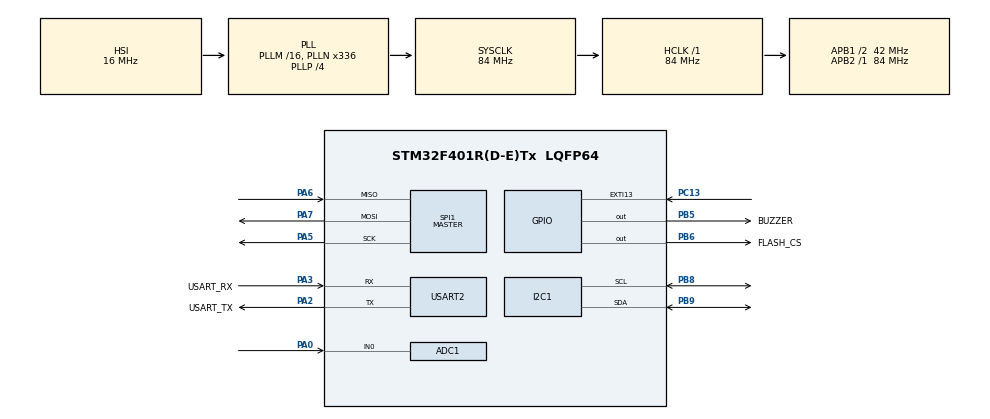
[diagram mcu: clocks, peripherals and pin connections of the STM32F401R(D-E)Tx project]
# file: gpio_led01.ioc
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ADC1.Channel-1\#ChannelRegularConversion=ADC_CHANNEL_0
ADC1.NbrOfConversionFlag=1
ADC1.Rank-1\#ChannelRegularConversion=1
ADC1.SamplingTime-1\#ChannelRegularConversion=ADC_SAMPLETIME_3CYCLES
ADC1.master=1
FREERTOS.BinarySemaphores01=buttonSem,Dynamic,NULL,Depleted
FREERTOS.Events01=systemEventFlags,Dynamic,NULL
FREERTOS.Mutexes01=i2cMutex,Dynamic,NULL,Available
FREERTOS.Queues01=sensorDisplayQueue,5,8,1,Dynamic,NULL,NULL;sensorAlarmQueue,5,8,1,Dynamic,NULL,NULL;sensorUartQueue,5,8,1,Dynamic,NULL,NULL
FREERTOS.Tasks01=SensorTask,24,256,StartSensorTask,Default,NULL,Dynamic,NULL,NULL;DisplayTask,24,256,StartDisplayTask,Default,NULL,Dynamic,NULL,NULL;AlarmTask,32,256,StartAlarmTask,Default,NULL,Dynamic,NULL,NULL;UartTask,24,256,StartUartTask,Default,NULL,Dynamic,NULL,NULL;ButtonTask,24,256,StartButtonTask,Default,NULL,Dynamic,NULL,NULL
Mcu.Family=STM32F4
Mcu.Name=STM32F401R(D-E)Tx
Mcu.Package=LQFP64
NVIC.EXTI15_10_IRQn=true\:5\:0\:false\:false\:true\:true\:true\:true\:true
NVIC.PriorityGroup=NVIC_PRIORITYGROUP_4
NVIC.TIM5_IRQn=true\:15\:0\:false\:false\:true\:false\:false\:true\:true
NVIC.TimeBase=TIM5_IRQn
NVIC.TimeBaseIP=TIM5
PA0-WKUP.Signal=ADCx_IN0
PA13.GPIO_Label=TMS
PA13.Mode=Trace_Asynchronous_SW
PA13.Signal=SYS_JTMS-SWDIO
PA14.GPIO_Label=TCK
PA14.Mode=Trace_Asynchronous_SW
PA14.Signal=SYS_JTCK-SWCLK
PA2.GPIO_Label=USART_TX
PA2.GPIO_Mode=GPIO_MODE_AF_PP
PA2.GPIO_PuPd=GPIO_NOPULL
PA2.GPIO_Speed=GPIO_SPEED_FREQ_LOW
PA2.Mode=Asynchronous
PA2.Signal=USART2_TX
PA3.GPIO_Label=USART_RX
PA3.GPIO_Mode=GPIO_MODE_AF_PP
PA3.GPIO_PuPd=GPIO_NOPULL
PA3.GPIO_Speed=GPIO_SPEED_FREQ_LOW
PA3.Mode=Asynchronous
PA3.Signal=USART2_RX
PA5.Mode=Full_Duplex_Master
PA5.Signal=SPI1_SCK
PA6.Mode=Full_Duplex_Master
PA6.Signal=SPI1_MISO
PA7.Mode=Full_Duplex_Master
PA7.Signal=SPI1_MOSI
PB3.GPIO_Label=SWO
PB3.Mode=Trace_Asynchronous_SW
PB3.Signal=SYS_JTDO-SWO
PB5.GPIO_Label=BUZZER
PB5.PinState=GPIO_PIN_SET
PB5.Signal=GPIO_Output
PB6.GPIO_Label=FLASH_CS
PB6.PinState=GPIO_PIN_SET
PB6.Signal=GPIO_Output
PB8.Mode=I2C
PB8.Signal=I2C1_SCL
PB9.Mode=I2C
PB9.Signal=I2C1_SDA
PC13-ANTI_TAMP.GPIO_ModeDefaultEXTI=GPIO_MODE_IT_FALLING
PC13-ANTI_TAMP.Signal=GPXTI13
PC14-OSC32_IN.Mode=LSE-External-Oscillator
PC14-OSC32_IN.Signal=RCC_OSC32_IN
PC15-OSC32_OUT.Mode=LSE-External-Oscillator
PC15-OSC32_OUT.Signal=RCC_OSC32_OUT
PH0\ -\ OSC_IN.Mode=HSE-External-Clock-Source
PH0\ -\ OSC_IN.Signal=RCC_OSC_IN
PH1\ -\ OSC_OUT.Mode=HSE-External-Clock-Source
PH1\ -\ OSC_OUT.Signal=RCC_OSC_OUT
ProjectManager.HeapSize=0x200
ProjectManager.StackSize=0x400
ProjectManager.TargetToolchain=STM32CubeIDE
RCC.48MHZClocksFreq_Value=48000000
RCC.AHBFreq_Value=84000000
RCC.APB1CLKDivider=RCC_HCLK_DIV2
RCC.APB1Freq_Value=42000000
RCC.APB1TimFreq_Value=84000000
RCC.APB2Freq_Value=84000000
RCC.APB2TimFreq_Value=84000000
RCC.CortexFreq_Value=84000000
RCC.HCLKFreq_Value=84000000
RCC.HSE_VALUE=8000000
RCC.HSI_VALUE=16000000
RCC.PLLN=336
RCC.PLLP=RCC_PLLP_DIV4
RCC.PLLQ=7
RCC.SYSCLKFreq_VALUE=84000000
RCC.SYSCLKSource=RCC_SYSCLKSOURCE_PLLCLK
RCC.VCOOutputFreq_Value=336000000
SH.ADCx_IN0.0=ADC1_IN0,IN0
SPI1.BaudRatePrescaler=SPI_BAUDRATEPRESCALER_64
SPI1.Direction=SPI_DIRECTION_2LINES
SPI1.Mode=SPI_MODE_MASTER
SPI1.VirtualType=VM_MASTER
USART2.VirtualMode=VM_ASYNC
VP_FREERTOS_VS_CMSIS_V2.Mode=CMSIS_V2
VP_SYS_VS_tim5.Mode=TIM5
VP_TIM2_VS_ClockSourceINT.Mode=Internal
board=NUCLEO-F401RE

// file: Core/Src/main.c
/* USER CODE BEGIN Header */
/**
  ******************************************************************************
  * @file           : main.c
  * @brief          : Main program body
  ******************************************************************************
  * @attention
  *
  * Copyright (c) 2026 STMicroelectronics.
  * All rights reserved.
  *
  * This software is licensed under terms that can be found in the LICENSE file
  * in the root directory of this software component.
  * If no LICENSE file comes with this software, it is provided AS-IS.
  *
  ******************************************************************************
  */
/* USER CODE END Header */
#include "main.h"
#include "cmsis_os.h"

/* USER CODE BEGIN Includes */

#include<stdio.h>
#include <string.h>
#include <stdarg.h>

#include "oled.h"
#include "aht20.h"
#include "w25q64.h"
#include "config.h"
#include "alarm.h"

/* USER CODE END Includes */

/* USER CODE BEGIN PTD */

typedef struct
{
    int32_t temperature_x10;
    uint32_t humidity_x10;

} SensorData_t;

/* USER CODE END PTD */

/* USER CODE BEGIN PD */

/* Keep external configuration isolated until reliability is verified. */
#ifndef APP_USE_FLASH_CONFIG
#define APP_USE_FLASH_CONFIG 0U
#endif

#ifndef QUEUE_STRESS_TEST
#define QUEUE_STRESS_TEST 0U
#endif

#define FLASH_CONFIG_WRITE_TEST 0U
#define FLASH_RAW_TEST 0U
#ifndef FLASH_READ_DIAG_MODE
#define FLASH_READ_DIAG_MODE 0U
#endif

#ifndef FLASH_SPI_CAPTURE_MODE
#define FLASH_SPI_CAPTURE_MODE 0U
#endif

#if !APP_USE_FLASH_CONFIG && (FLASH_RAW_TEST || FLASH_CONFIG_WRITE_TEST)
#error "Flash write tests require an explicitly enabled application Flash path"
#endif

#if QUEUE_STRESS_TEST && (APP_USE_FLASH_CONFIG || FLASH_READ_DIAG_MODE || FLASH_RAW_TEST || FLASH_CONFIG_WRITE_TEST)
#error "Queue stress must run the normal tasks with external Flash isolated"
#endif

#if FLASH_SPI_CAPTURE_MODE && !FLASH_READ_DIAG_MODE
#error "SPI capture mode requires the read-only Flash diagnostic"
#endif

#if FLASH_READ_DIAG_MODE && (FLASH_RAW_TEST || FLASH_CONFIG_WRITE_TEST)
#error "Flash read diagnostic must be built with both write tests disabled"
#endif

/* USER CODE END PD */

ADC_HandleTypeDef hadc1;

I2C_HandleTypeDef hi2c1;

SPI_HandleTypeDef hspi1;

TIM_HandleTypeDef htim2;

UART_HandleTypeDef huart2;

/* Definitions for SensorTask */
osThreadId_t SensorTaskHandle;
const osThreadAttr_t SensorTask_attributes = {
  .name = "SensorTask",
  .stack_size = 256 * 4,
  .priority = (osPriority_t) osPriorityNormal,
};
/* Definitions for DisplayTask */
osThreadId_t DisplayTaskHandle;
const osThreadAttr_t DisplayTask_attributes = {
  .name = "DisplayTask",
  .stack_size = 256 * 4,
  .priority = (osPriority_t) osPriorityNormal,
};
/* Definitions for AlarmTask */
osThreadId_t AlarmTaskHandle;
const osThreadAttr_t AlarmTask_attributes = {
  .name = "AlarmTask",
  .stack_size = 256 * 4,
  .priority = (osPriority_t) osPriorityAboveNormal,
};
/* Definitions for UartTask */
osThreadId_t UartTaskHandle;
const osThreadAttr_t UartTask_attributes = {
  .name = "UartTask",
  .stack_size = 256 * 4,
  .priority = (osPriority_t) osPriorityNormal,
};
/* Definitions for ButtonTask */
osThreadId_t ButtonTaskHandle;
const osThreadAttr_t ButtonTask_attributes = {
  .name = "ButtonTask",
  .stack_size = 256 * 4,
  .priority = (osPriority_t) osPriorityNormal,
};
/* Definitions for sensorDisplayQueue */
osMessageQueueId_t sensorDisplayQueueHandle;
const osMessageQueueAttr_t sensorDisplayQueue_attributes = {
  .name = "sensorDisplayQueue"
};
/* Definitions for sensorAlarmQueue */
osMessageQueueId_t sensorAlarmQueueHandle;
const osMessageQueueAttr_t sensorAlarmQueue_attributes = {
  .name = "sensorAlarmQueue"
};
/* Definitions for sensorUartQueue */
osMessageQueueId_t sensorUartQueueHandle;
const osMessageQueueAttr_t sensorUartQueue_attributes = {
  .name = "sensorUartQueue"
};
/* Definitions for i2cMutex */
osMutexId_t i2cMutexHandle;
const osMutexAttr_t i2cMutex_attributes = {
  .name = "i2cMutex"
};
/* Definitions for buttonSem */
osSemaphoreId_t buttonSemHandle;
const osSemaphoreAttr_t buttonSem_attributes = {
  .name = "buttonSem"
};
/* Definitions for systemEventFlags */
osEventFlagsId_t systemEventFlagsHandle;
const osEventFlagsAttr_t systemEventFlags_attributes = {
  .name = "systemEventFlags"
};
/* USER CODE BEGIN PV */

static volatile uint8_t button_pressed = 0;

static char tx_buffer[64];

static char oled_temp[16];
static char oled_humi[16];
static char oled_state[16];

static float humidity = 0.0f;
static float temperature = 0.0f;

static int32_t temperature_x10 = 0;
static uint32_t humidity_x10 = 0;

static uint8_t oled_ready = 0U;

static volatile uint32_t displayQueueDropCount = 0;
static volatile uint32_t alarmQueueDropCount = 0;
static volatile uint32_t uartQueueDropCount = 0;

/* FreeRTOS Task Stack Monitoring */
volatile uint32_t sensorStackFree = 0;
volatile uint32_t displayStackFree = 0;
volatile uint32_t alarmStackFree = 0;
volatile uint32_t uartStackFree = 0;
volatile uint32_t buttonStackFree = 0;

/* USER CODE END PV */

void SystemClock_Config(void);
static void MX_GPIO_Init(void);
static void MX_USART2_UART_Init(void);
static void MX_TIM2_Init(void);
static void MX_ADC1_Init(void);
static void MX_I2C1_Init(void);
static void MX_SPI1_Init(void);
void StartSensorTask(void *argument);
void StartDisplayTask(void *argument);
void StartAlarmTask(void *argument);
void StartUartTask(void *argument);
void StartButtonTask(void *argument);

/* USER CODE BEGIN 0 */
#if QUEUE_STRESS_TEST
typedef enum {
    QueueWarmup, QueuePressure, QueueDrain, QueueRecovery, QueueDone
} QueueStressPhase;
typedef enum {
    QueueDisplay, QueueAlarm, QueueUart, QueueCount
} QueueStressIndex;

typedef struct {
    uint32_t capacity;
    uint32_t peak;
    uint32_t attempts;
    uint32_t accepted;
    uint32_t full;
    uint32_t errors;
} QueueStressStats;

static osMutexId_t queueStressUartMutex;
static volatile QueueStressPhase queueStressPhase = QueueWarmup;
static volatile uint32_t queueStressProcessed[QueueCount];
static QueueStressStats queueStressStats[QueueCount];
static uint32_t queueStressStartDrops[QueueCount];
static uint32_t queueStressStartProcessed[QueueCount];
static uint32_t queueStressRecoveryErrors[QueueCount];
static uint32_t queueStressRecoveryAccepted[QueueCount];
static uint32_t queueStressDrainDepth[QueueCount];
static uint32_t queueStressMark;
static uint32_t queueStressTicksPerSec;
static uint8_t queueStressPressureOk;

static void QueueStress_Uart(const char *data, uint16_t size)
{
    if (osMutexAcquire(queueStressUartMutex, osWaitForever) == osOK)
    {
        HAL_UART_Transmit(&huart2, (const uint8_t *)data, size, 100U);
        osMutexRelease(queueStressUartMutex);
    }
}

static void QueueStress_Log(const char *format, ...) __attribute__((format(printf, 1, 2)));
static void QueueStress_Log(const char *format, ...)
{
    char line[144];
    va_list args;
    va_start(args, format);
    int length = vsnprintf(line, sizeof(line), format, args);
    va_end(args);
    if (length > 0 && length < (int)sizeof(line))
    {
        QueueStress_Uart(line, (uint16_t)length);
    }
}

static void QueueStress_RecordPut(QueueStressIndex index, osMessageQueueId_t queue,
                                  osStatus_t status)
{
    if (queueStressPhase == QueuePressure)
    {
        QueueStressStats *stat = &queueStressStats[index];
        ++stat->attempts;
        if (status == osOK)
        {
            ++stat->accepted;
        }
        else if (status == osErrorResource)
        {
            ++stat->full;
        }
        else
        {
            ++stat->errors;
        }
        /* A non-blocking put rejected as full is evidence of reaching capacity. */
        uint32_t depth = (status == osErrorResource) ? stat->capacity : osMessageQueueGetCount(queue);
        if (depth > stat->peak)
        {
            stat->peak = depth;
        }
    }
    if (queueStressPhase == QueueRecovery)
    {
        if (status == osOK)
        {
            ++queueStressRecoveryAccepted[index];
        }
        else
        {
            ++queueStressRecoveryErrors[index];
        }
    }
}

static void QueueStress_Consumed(QueueStressIndex index)
{
    ++queueStressProcessed[index];
    if (queueStressPhase == QueuePressure)
    {
        /* Delay only after the real consumer work and after releasing its mutex. */
        osDelay(3U * queueStressTicksPerSec);
    }
}

/* SensorTask owns test transitions, statistics, and the queue producer. */
static void QueueStress_Step(void)
{
    if (queueStressPhase == QueueDone)
    {
        return;
    }

    const osMessageQueueId_t queues[QueueCount] = {
        sensorDisplayQueueHandle, sensorAlarmQueueHandle, sensorUartQueueHandle
    };
    const char *const names[QueueCount] = {"display", "alarm", "uart"};
    const uint32_t drops[QueueCount] = {
        displayQueueDropCount, alarmQueueDropCount, uartQueueDropCount
    };
    uint32_t now = osKernelGetTickCount();
    if (queueStressTicksPerSec == 0U)
    {
        queueStressTicksPerSec = osKernelGetTickFreq();
        queueStressMark = now;
        QueueStress_Log("QUEUE_STRESS_BEGIN v=1 warm_s=3 pressure_s=18 slow_s=3 drain_s=6 recovery_s=4\r\n");
    }
    uint32_t elapsed = now - queueStressMark;

    if (queueStressPhase == QueueWarmup && elapsed >= 3U * queueStressTicksPerSec)
    {
        QueueStress_Log("Q_BEFORE drops=%lu,%lu,%lu\r\n",
                        (unsigned long)drops[QueueDisplay], (unsigned long)drops[QueueAlarm],
                        (unsigned long)drops[QueueUart]);
        for (unsigned i = 0; i < QueueCount; ++i)
        {
            queueStressStats[i].capacity = osMessageQueueGetCapacity(queues[i]);
            queueStressStartDrops[i] = drops[i];
            queueStressStartProcessed[i] = queueStressProcessed[i];
        }
        queueStressMark = osKernelGetTickCount();
        queueStressPhase = QueuePressure;
    }
    else if (queueStressPhase == QueuePressure && elapsed >= 18U * queueStressTicksPerSec)
    {
        uint32_t pressureProcessed[QueueCount];
        for (unsigned i = 0; i < QueueCount; ++i)
        {
            pressureProcessed[i] = queueStressProcessed[i];
        }
        queueStressPhase = QueueDrain;
        queueStressMark = now;
        queueStressPressureOk = 1U;
        for (unsigned i = 0; i < QueueCount; ++i)
        {
            const QueueStressStats *stat = &queueStressStats[i];
            uint32_t lost = drops[i] - queueStressStartDrops[i];
            uint32_t handled = pressureProcessed[i] - queueStressStartProcessed[i];
            unsigned pass = stat->capacity == 5U && stat->peak == stat->capacity &&
                            stat->full > 0U && lost == stat->full && stat->errors == 0U &&
                            stat->attempts == stat->accepted + stat->full && handled > 0U;
            queueStressPressureOk &= pass;
            QueueStress_Log("Q_LOAD %s cap=%lu peak=%lu attempts=%lu ok=%lu full=%lu err=%lu drops=%lu done=%lu pass=%u\r\n",
                            names[i], (unsigned long)stat->capacity, (unsigned long)stat->peak,
                            (unsigned long)stat->attempts, (unsigned long)stat->accepted,
                            (unsigned long)stat->full, (unsigned long)stat->errors,
                            (unsigned long)lost, (unsigned long)handled, pass);
        }
    }
    else if (queueStressPhase == QueueDrain && elapsed >= 6U * queueStressTicksPerSec)
    {
        for (unsigned i = 0; i < QueueCount; ++i)
        {
            queueStressDrainDepth[i] = osMessageQueueGetCount(queues[i]);
            queueStressStartDrops[i] = drops[i];
            queueStressStartProcessed[i] = queueStressProcessed[i];
        }
        queueStressMark = now;
        queueStressPhase = QueueRecovery;
    }
    else if (queueStressPhase == QueueRecovery && elapsed >= 4U * queueStressTicksPerSec)
    {
        queueStressPhase = QueueDone;
        unsigned recoveryOk = 1U;
        for (unsigned i = 0; i < QueueCount; ++i)
        {
            uint32_t lost = drops[i] - queueStressStartDrops[i];
            uint32_t handled = queueStressProcessed[i] - queueStressStartProcessed[i];
            unsigned pass = queueStressDrainDepth[i] == 0U && lost == 0U &&
                            queueStressRecoveryErrors[i] == 0U &&
                            queueStressRecoveryAccepted[i] >= 2U && handled >= 2U;
            recoveryOk &= pass;
            QueueStress_Log("Q_RECOVERY %s depth=%lu ok=%lu err=%lu drops=%lu done=%lu pass=%u\r\n",
                            names[i], (unsigned long)queueStressDrainDepth[i],
                            (unsigned long)queueStressRecoveryAccepted[i],
                            (unsigned long)queueStressRecoveryErrors[i],
                            (unsigned long)lost, (unsigned long)handled, pass);
        }
        QueueStress_Log("QUEUE_STRESS_END result=%s drops=%lu,%lu,%lu\r\n",
                        queueStressPressureOk && recoveryOk ? "PASS" : "FAIL",
                        (unsigned long)drops[QueueDisplay], (unsigned long)drops[QueueAlarm],
                        (unsigned long)drops[QueueUart]);
    }
}
#endif
#if FLASH_READ_DIAG_MODE
static void FlashDiag_Print(const char *format, ...)
{
    char line[160];
    va_list args;
    va_start(args, format);
    int length = vsnprintf(line, sizeof(line), format, args);
    va_end(args);
    if (length > 0 && length < (int)sizeof(line))
    {
        HAL_UART_Transmit(&huart2, (uint8_t *)line, (uint16_t)length, 100U);
    }
}

static __attribute__((noreturn)) void FlashDiag_Stop(void)
{
    HAL_SuspendTick();
    for (;;)
    {
        __WFI();
    }
}

#if FLASH_SPI_CAPTURE_MODE
static __attribute__((noreturn)) void FlashDiag_Capture(void)
{
    enum { ReadCount = 100, ReadLength = 8, GapMs = 4 };
    struct {
        HAL_StatusTypeDef status;
        uint32_t offset_ms;
        uint8_t data[ReadLength];
    } samples[ReadCount];
    unsigned batch = 0;

    for (;;)
    {
        uint8_t request = 0;
        FlashDiag_Print("SPI_CAPTURE_READY cmd=R addr=0x%06lX count=%u gap_ms=%u\r\n",
                        (unsigned long)FLASH_CONFIG_ADDR, (unsigned)ReadCount, (unsigned)GapMs);
        do
        {
            request = 0;
        } while (HAL_UART_Receive(&huart2, &request, 1, 100U) != HAL_OK || request != 'R');

        /* The host starts the analyzer before sending R. */
        HAL_Delay(50U);
        uint32_t start = HAL_GetTick();
        for (unsigned i = 0; i < ReadCount; ++i)
        {
            memset(samples[i].data, 0, sizeof(samples[i].data));
            samples[i].offset_ms = HAL_GetTick() - start;
            samples[i].status = W25Q64_ReadData(FLASH_CONFIG_ADDR, samples[i].data, ReadLength);
            if (i + 1U < ReadCount)
            {
                HAL_Delay(GapMs);
            }
        }

        unsigned failures = 0;
        unsigned changed = 0;
        unsigned reference_ok = samples[0].status == HAL_OK;
        FlashDiag_Print("SPI_CAPTURE_BEGIN batch=%u count=%u elapsed_ms=%lu\r\n",
                        ++batch, (unsigned)ReadCount, (unsigned long)(HAL_GetTick() - start));
        for (unsigned i = 0; i < ReadCount; ++i)
        {
            const uint8_t *data = samples[i].data;
            FlashDiag_Print("READ %03u: %02X %02X %02X %02X %02X %02X %02X %02X HAL=%u t_ms=%lu\r\n",
                            i + 1U, (unsigned)data[0], (unsigned)data[1],
                            (unsigned)data[2], (unsigned)data[3], (unsigned)data[4],
                            (unsigned)data[5], (unsigned)data[6], (unsigned)data[7],
                            (unsigned)samples[i].status, (unsigned long)samples[i].offset_ms);
            if (samples[i].status != HAL_OK)
            {
                ++failures;
            }
            else if (reference_ok && memcmp(samples[0].data, data, ReadLength) != 0)
            {
                ++changed;
            }
        }
        FlashDiag_Print("SPI_CAPTURE_END batch=%u hal_fail=%u mismatch=%u reference_ok=%u\r\n",
                        batch, failures, changed, reference_ok);
    }
}
#endif

static __attribute__((noreturn)) void FlashDiag_Run(void)
{
    __HAL_RCC_GPIOB_CLK_ENABLE();
    HAL_GPIO_WritePin(FLASH_CS_GPIO_Port, FLASH_CS_Pin, GPIO_PIN_SET);
    GPIO_InitTypeDef cs = {
        .Pin = FLASH_CS_Pin,
        .Mode = GPIO_MODE_OUTPUT_PP,
        .Pull = GPIO_NOPULL,
        .Speed = GPIO_SPEED_FREQ_LOW
    };
    HAL_GPIO_Init(FLASH_CS_GPIO_Port, &cs);
    MX_USART2_UART_Init();
    MX_SPI1_Init();

    /* Bound the time-base check even if TIM5 interrupts never arrive. */
    uint32_t tick = HAL_GetTick();
    uint32_t spins = SystemCoreClock / 4U;
    while (((uint32_t)(HAL_GetTick() - tick) < 2U) && (spins > 0U))
    {
        --spins;
    }
    unsigned tick_ok = (uint32_t)(HAL_GetTick() - tick) >= 2U;
    if (tick_ok)
    {
        HAL_Delay(100U);
    }

    FlashDiag_Print("FLASH_DIAG_BEGIN version=1 build=%s %s mode=READ_ONLY\r\n",
                    __DATE__, __TIME__);
    FlashDiag_Print("HAL_TICK_OK=%u\r\n", tick_ok);
    HAL_StatusTypeDef init = W25Q64_Init(&hspi1);
    if (!tick_ok || init != HAL_OK)
    {
        FlashDiag_Print("FLASH_DIAG_END result=INIT_FAILED init=%u\r\n", (unsigned)init);
        FlashDiag_Stop();
    }

#if FLASH_SPI_CAPTURE_MODE
    FlashDiag_Capture();
#else
    unsigned id_ok = 0, id_fail = 0, id_mismatch = 0;
    for (unsigned i = 1; i <= 100U; ++i)
    {
        uint8_t mfr = 0, type = 0, capacity = 0;
        HAL_StatusTypeDef status = W25Q64_ReadJEDEC_ID(&mfr, &type, &capacity);
        if (status != HAL_OK)
        {
            ++id_fail;
        }
        else
        {
            ++id_ok;
            if (mfr != 0xEFU || type != 0x40U || capacity != 0x17U)
            {
                ++id_mismatch;
            }
        }
        FlashDiag_Print("ID %03u HAL=%u: %02X %02X %02X\r\n",
                        i, (unsigned)status, (unsigned)mfr, (unsigned)type, (unsigned)capacity);
    }
    FlashDiag_Print("ID_SUMMARY ok=%u hal_fail=%u mismatch=%u\r\n", id_ok, id_fail, id_mismatch);

    HAL_StatusTypeDef (*const read_sr[])(uint8_t *) = {
        W25Q64_ReadStatus1, W25Q64_ReadStatus2, W25Q64_ReadStatus3
    };
    unsigned sr_fail[3] = {0}, sr_changes[3] = {0}, sr_seen[3] = {0};
    uint8_t sr_ref[3] = {0};
    for (unsigned i = 1; i <= 10U; ++i)
    {
        for (unsigned reg = 0; reg < 3U; ++reg)
        {
            uint8_t value = 0;
            HAL_StatusTypeDef status = read_sr[reg](&value);
            if (status != HAL_OK)
            {
                ++sr_fail[reg];
            }
            else if (!sr_seen[reg])
            {
                sr_ref[reg] = value;
                sr_seen[reg] = 1U;
            }
            else if (value != sr_ref[reg])
            {
                ++sr_changes[reg];
            }
            FlashDiag_Print("SR%u %02u HAL=%u: %02X\r\n",
                            reg + 1U, i, (unsigned)status, (unsigned)value);
        }
    }
    for (unsigned reg = 0; reg < 3U; ++reg)
    {
        FlashDiag_Print("SR%u_SUMMARY ok=%u hal_fail=%u changed=%u ref=%02X\r\n",
                        reg + 1U, 10U - sr_fail[reg], sr_fail[reg],
                        sr_changes[reg], (unsigned)sr_ref[reg]);
    }

    unsigned read_fail = 0, read_mismatch = 0, reference_ok = 0;
    uint8_t reference[8] = {0};
    FlashDiag_Print("READ_TARGET addr=0x%06lX length=%u\r\n",
                    (unsigned long)FLASH_CONFIG_ADDR, (unsigned)sizeof(reference));
    for (unsigned i = 1; i <= 10U; ++i)
    {
        uint8_t data[sizeof(reference)] = {0};
        HAL_StatusTypeDef status = W25Q64_ReadData(FLASH_CONFIG_ADDR, data, sizeof(data));
        FlashDiag_Print("READ %02u: %02X %02X %02X %02X %02X %02X %02X %02X HAL=%u\r\n",
                        i, (unsigned)data[0], (unsigned)data[1], (unsigned)data[2],
                        (unsigned)data[3], (unsigned)data[4], (unsigned)data[5],
                        (unsigned)data[6], (unsigned)data[7], (unsigned)status);
        if (status != HAL_OK)
        {
            ++read_fail;
            continue;
        }
        if (i == 1U)
        {
            memcpy(reference, data, sizeof(reference));
            reference_ok = 1U;
        }
        else if (reference_ok)
        {
            for (unsigned offset = 0; offset < sizeof(reference); ++offset)
            {
                if (data[offset] != reference[offset])
                {
                    ++read_mismatch;
                    FlashDiag_Print("READ_DIFF sample=%02u offset=%u expected=%02X actual=%02X\r\n",
                                    i, offset, (unsigned)reference[offset], (unsigned)data[offset]);
                    break;
                }
            }
        }
    }

    unsigned spi_errors = id_fail + sr_fail[0] + sr_fail[1] + sr_fail[2] + read_fail;
    unsigned observed_issue = spi_errors || id_mismatch || read_mismatch ||
                              sr_changes[0] || sr_changes[1] || sr_changes[2];
    FlashDiag_Print("READ_SUMMARY ok=%u hal_fail=%u mismatch=%u reference_ok=%u\r\n",
                    10U - read_fail, read_fail, read_mismatch, reference_ok);
    FlashDiag_Print("FLASH_DIAG_END spi_hal_errors=%u result=%s\r\n",
                    spi_errors, observed_issue ? "CHECK_LOG" : "READS_REPEATABLE");
    FlashDiag_Stop();
#endif
}
#endif

/* USER CODE END 0 */

int main(void)
{

  /* MCU Configuration--------------------------------------------------------*/

  /* Reset of all peripherals, Initializes the Flash interface and the Systick. */
  HAL_Init();

  /* Configure the system clock */
  SystemClock_Config();

  /* USER CODE BEGIN SysInit */
#if FLASH_READ_DIAG_MODE
  FlashDiag_Run();
#endif

  /* USER CODE END SysInit */

  /* Initialize all configured peripherals */
  MX_GPIO_Init();
  MX_USART2_UART_Init();
  MX_TIM2_Init();
  MX_ADC1_Init();
  MX_I2C1_Init();
  MX_SPI1_Init();
  /* USER CODE BEGIN 2 */

  HAL_Delay(100);

  HAL_StatusTypeDef aht20_init_status;

  aht20_init_status = AHT20_Init(&hi2c1);

  int len = snprintf(
      tx_buffer,
      sizeof(tx_buffer),
      "AHT20 Init: %s\r\n",
      (aht20_init_status == HAL_OK) ? "OK" : "ERROR"
  );

  HAL_StatusTypeDef oled_init_status;

  oled_init_status = OLED_Init(&hi2c1);

  oled_ready = (oled_init_status == HAL_OK) ? 1U : 0U;

  if (oled_init_status == HAL_OK)
  {
	    OLED_Clear();
  }

  HAL_UART_Transmit(
      &huart2,
      (uint8_t *)tx_buffer,
      len,
      100
  );

  int oled_len = snprintf(
      tx_buffer,
      sizeof(tx_buffer),
      "OLED Init: %s\r\n",
      (oled_init_status == HAL_OK) ? "OK" : "ERROR"
  );

  HAL_UART_Transmit(
      &huart2,
      (uint8_t *)tx_buffer,
      oled_len,
      100
  );

  #if APP_USE_FLASH_CONFIG
  uint8_t flash_manufacturer;
  uint8_t flash_memory_type;
  uint8_t flash_capacity;

  HAL_StatusTypeDef flash_status;

  flash_status = W25Q64_Init(&hspi1);

  if (flash_status == HAL_OK)
  {
      flash_status = W25Q64_ReadJEDEC_ID(&flash_manufacturer,
                                        &flash_memory_type,
                                        &flash_capacity);
  }

  if (flash_status == HAL_OK)
  {
      int flash_len = snprintf(
          tx_buffer,
          sizeof(tx_buffer),
          "W25Q64 JEDEC ID: %02X %02X %02X\r\n",
          flash_manufacturer,
          flash_memory_type,
          flash_capacity
      );

      HAL_UART_Transmit(
          &huart2,
          (uint8_t *)tx_buffer,
          flash_len,
          100
      );
  }
  else
  {
      int flash_len = snprintf(
          tx_buffer,
          sizeof(tx_buffer),
          "W25Q64 ERROR\r\n"
      );

      HAL_UART_Transmit(
          &huart2,
          (uint8_t *)tx_buffer,
          flash_len,
          100
      );
  }

  /* USER CODE BEGIN FLASH_TEST */

  /* W25Q64 底层读写测试 */

  #if FLASH_RAW_TEST

  {
      /* 擦除后的数据 */
      uint8_t erase_data[8] = {0};

      /* 准备写入的测试数据 */
      uint8_t test_data[8] = {
          0x2C, 0x01,
          0x22, 0x01,
          0x84, 0x03,
          0x52, 0x03
      };

      /* 读取回来的数据 */
      uint8_t read_data[8] = {0};

      HAL_StatusTypeDef erase_status = HAL_ERROR;
      HAL_StatusTypeDef erase_read_status = HAL_ERROR;
      HAL_StatusTypeDef program_status = HAL_ERROR;
      HAL_StatusTypeDef read_status = HAL_ERROR;

      uint8_t erase_verified = 0U;
      uint8_t program_attempted = 0U;
      uint8_t data_match = 0U;

      /* 检查 Flash 是否识别正常 */
      uint8_t flash_id_valid =
          (flash_status == HAL_OK &&
           flash_manufacturer == 0xEF &&
           flash_memory_type == 0x40 &&
           flash_capacity == 0x17);

      if (flash_id_valid)
      {
          /* 第一步：擦除扇区 */
          erase_status = W25Q64_SectorErase(0x002000);

          /* 第二步：读取擦除后的数据 */
          if (erase_status == HAL_OK)
          {
              erase_read_status = W25Q64_ReadData(
                  0x002000,
                  erase_data,
                  sizeof(erase_data)
              );

              if (erase_read_status == HAL_OK)
              {
                  erase_verified = 1U;

                  for (uint32_t i = 0; i < 8U; i++)
                  {
                      if (erase_data[i] != 0xFFU)
                      {
                          erase_verified = 0U;
                          break;
                      }
                  }
              }
          }

          /* 第三步：确认擦除成功后再写入 */
          if (erase_verified)
          {
              program_attempted = 1U;

              program_status = W25Q64_PageProgram(
                  0x002000,
                  test_data,
                  sizeof(test_data)
              );

              /* 第四步：重新读取数据 */
              if (program_status == HAL_OK)
              {
                  read_status = W25Q64_ReadData(
                      0x002000,
                      read_data,
                      sizeof(read_data)
                  );

                  if (read_status == HAL_OK)
                  {
                      data_match = 1U;

                      for (uint32_t i = 0; i < 8U; i++)
                      {
                          if (read_data[i] != test_data[i])
                          {
                              data_match = 0U;
                              break;
                          }
                      }
                  }
              }
          }
      }

      /* 输出擦除结果 */
      if (flash_id_valid)
      {
          int msg_len = snprintf(
              tx_buffer,
              sizeof(tx_buffer),
              "ERASE=%d EREAD=%d EVER=%u\r\n",
              (int)erase_status,
              (int)erase_read_status,
              (unsigned int)erase_verified
          );

          HAL_UART_Transmit(
              &huart2,
              (uint8_t *)tx_buffer,
              (uint16_t)msg_len,
              100
          );

          /* 输出写入结果 */
          msg_len = snprintf(
              tx_buffer,
              sizeof(tx_buffer),
              "PROG_TRY=%u PROG=%d READ=%d MATCH=%u\r\n",
              (unsigned int)program_attempted,
              (int)program_status,
              (int)read_status,
              (unsigned int)data_match
          );

          HAL_UART_Transmit(
              &huart2,
              (uint8_t *)tx_buffer,
              (uint16_t)msg_len,
              100
          );

          /* 输出擦除后的实际数据 */
          msg_len = snprintf(
              tx_buffer,
              sizeof(tx_buffer),
              "ERASED: %02X %02X %02X %02X %02X %02X %02X %02X\r\n",
              (unsigned int)erase_data[0],
              (unsigned int)erase_data[1],
              (unsigned int)erase_data[2],
              (unsigned int)erase_data[3],
              (unsigned int)erase_data[4],
              (unsigned int)erase_data[5],
              (unsigned int)erase_data[6],
              (unsigned int)erase_data[7]
          );

          HAL_UART_Transmit(
              &huart2,
              (uint8_t *)tx_buffer,
              (uint16_t)msg_len,
              100
          );

          /* 输出写入后读取的实际数据 */
          msg_len = snprintf(
              tx_buffer,
              sizeof(tx_buffer),
              "READBACK: %02X %02X %02X %02X %02X %02X %02X %02X\r\n",
              (unsigned int)read_data[0],
              (unsigned int)read_data[1],
              (unsigned int)read_data[2],
              (unsigned int)read_data[3],
              (unsigned int)read_data[4],
              (unsigned int)read_data[5],
              (unsigned int)read_data[6],
              (unsigned int)read_data[7]
          );

          HAL_UART_Transmit(
              &huart2,
              (uint8_t *)tx_buffer,
              (uint16_t)msg_len,
              100
          );
      }
      else
      {
          int msg_len = snprintf(
              tx_buffer,
              sizeof(tx_buffer),
              "RAW TEST SKIPPED: FLASH ID ERROR\r\n"
          );

          HAL_UART_Transmit(
              &huart2,
              (uint8_t *)tx_buffer,
              (uint16_t)msg_len,
              100
          );
      }
  }

  #endif

  /* W25Q64 底层测试结束 */

  #if FLASH_CONFIG_WRITE_TEST

  {
      /* 准备测试数据 */
      AlarmConfig testConfig;

      /* 准备读回数据 */
      AlarmConfig verifyConfig = {0};

      /* 初始化测试状态 */
      HAL_StatusTypeDef saveStatus = HAL_ERROR;
      HAL_StatusTypeDef readBackStatus = HAL_ERROR;

      uint8_t dataMatch = 0U;

      /* 检查 JEDEC ID 是否正确 */
      uint8_t flashIdValid =
          (flash_status == HAL_OK &&
           flash_manufacturer == 0xEF &&
           flash_memory_type == 0x40 &&
           flash_capacity == 0x17);

      if (flashIdValid)
      {
          /* 设置默认报警阈值 */
          Config_SetDefault(&testConfig);

          /* 第一步：擦除并写入 Flash */
          saveStatus = Config_Save(&testConfig);

          /* 第二步：立即读回 */
          if (saveStatus == HAL_OK)
          {
              readBackStatus = Config_Load(&verifyConfig);

              /* 第三步：逐字段比较 */
              if (readBackStatus == HAL_OK &&
                  Config_IsValid(&verifyConfig) &&
                  verifyConfig.temp_on_x10 ==
                      testConfig.temp_on_x10 &&
                  verifyConfig.temp_off_x10 ==
                      testConfig.temp_off_x10 &&
                  verifyConfig.humi_on_x10 ==
                      testConfig.humi_on_x10 &&
                  verifyConfig.humi_off_x10 ==
                      testConfig.humi_off_x10)
              {
                  dataMatch = 1U;
              }
          }
      }

      /* 输出测试结果 */
      int testLen = snprintf(
          tx_buffer,
          sizeof(tx_buffer),
          "FLASH TEST: ID=%u SAVE=%d READ=%d MATCH=%u\r\n",
          (unsigned int)flashIdValid,
          (int)saveStatus,
          (int)readBackStatus,
          (unsigned int)dataMatch
      );

      if (testLen > 0 &&
          testLen < (int)sizeof(tx_buffer))
      {
          HAL_UART_Transmit(
              &huart2,
              (uint8_t *)tx_buffer,
              (uint16_t)testLen,
              100
          );
      }
  }

  #endif

  /* USER CODE END FLASH_TEST */

  AlarmConfig read_config = {0};

  HAL_StatusTypeDef cfgLoadStatus = Config_Load(&read_config);

  uint8_t cfgValid = 0;

  if (cfgLoadStatus == HAL_OK)
  {
      cfgValid = Config_IsValid(&read_config);
  }

  /* 只读取和打印，不写 Flash */
  int cfgDebugLen = snprintf(
      tx_buffer,
      sizeof(tx_buffer),
      "CFG load=%d valid=%u raw=%lu,%lu,%lu,%lu\r\n",
      (int)cfgLoadStatus,
      (unsigned int)cfgValid,
      (unsigned long)read_config.temp_on_x10,
      (unsigned long)read_config.temp_off_x10,
      (unsigned long)read_config.humi_on_x10,
      (unsigned long)read_config.humi_off_x10
  );

  if (cfgDebugLen > 0 &&
      cfgDebugLen < (int)sizeof(tx_buffer))
  {
      HAL_UART_Transmit(
          &huart2,
          (uint8_t *)tx_buffer,
          (uint16_t)cfgDebugLen,
          100
      );
  }

  if (cfgLoadStatus == HAL_OK && cfgValid)
  {
      int config_len = snprintf(
          tx_buffer,
          sizeof(tx_buffer),
          "Load Config: T_ON=%d T_OFF=%d H_ON=%d H_OFF=%d\r\n",
          read_config.temp_on_x10,
          read_config.temp_off_x10,
          read_config.humi_on_x10,
          read_config.humi_off_x10
      );

      HAL_UART_Transmit(
          &huart2,
          (uint8_t *)tx_buffer,
          config_len,
          100
      );

      snprintf(
          tx_buffer,
          sizeof(tx_buffer),
          "Config source: FLASH\r\n"
      );

      HAL_UART_Transmit(
          &huart2,
          (uint8_t *)tx_buffer,
          strlen(tx_buffer),
          100
      );

  }
  else
  {
      /* Flash读取失败或配置非法 */
      Config_SetDefault(&read_config);

      //Config_Save(&read_config);

      snprintf(
          tx_buffer,
          sizeof(tx_buffer),
          "Config invalid, defaults restored\r\n"
      );

      HAL_UART_Transmit(
          &huart2,
          (uint8_t *)tx_buffer,
          strlen(tx_buffer),
          100
      );
  }

  #else
  AlarmConfig read_config;
  Config_SetDefault(&read_config);
  static const char config_source[] = "Config source: RAM defaults (Flash isolated)\r\n";
  HAL_UART_Transmit(&huart2, (const uint8_t *)config_source, sizeof(config_source) - 1U, 100U);
  #endif

  Alarm_SetThresholds(
      read_config.temp_on_x10,
      read_config.temp_off_x10,
      read_config.humi_on_x10,
      read_config.humi_off_x10
  );

  /* USER CODE END 2 */

  /* Init scheduler */
  osKernelInitialize();
  /* Create the mutex(es) */
  /* creation of i2cMutex */
  i2cMutexHandle = osMutexNew(&i2cMutex_attributes);

  /* USER CODE BEGIN RTOS_MUTEX */
  /* add mutexes, ... */
#if QUEUE_STRESS_TEST
  const osMutexAttr_t stressUartMutexAttrs = {.name = "stressUart", .attr_bits = osMutexPrioInherit};
  queueStressUartMutex = osMutexNew(&stressUartMutexAttrs);
  if (queueStressUartMutex == NULL)
  {
    Error_Handler();
  }
#endif
  /* USER CODE END RTOS_MUTEX */

  /* Create the semaphores(s) */
  /* creation of buttonSem */
  buttonSemHandle = osSemaphoreNew(1, 0, &buttonSem_attributes);

  /* Create the queue(s) */
  /* creation of sensorDisplayQueue */
  sensorDisplayQueueHandle = osMessageQueueNew (5, 8, &sensorDisplayQueue_attributes);

  /* creation of sensorAlarmQueue */
  sensorAlarmQueueHandle = osMessageQueueNew (5, 8, &sensorAlarmQueue_attributes);

  /* creation of sensorUartQueue */
  sensorUartQueueHandle = osMessageQueueNew (5, 8, &sensorUartQueue_attributes);

  /* Create the thread(s) */
  /* creation of SensorTask */
  SensorTaskHandle = osThreadNew(StartSensorTask, NULL, &SensorTask_attributes);

  /* creation of DisplayTask */
  DisplayTaskHandle = osThreadNew(StartDisplayTask, NULL, &DisplayTask_attributes);

  /* creation of AlarmTask */
  AlarmTaskHandle = osThreadNew(StartAlarmTask, NULL, &AlarmTask_attributes);

  /* creation of UartTask */
  UartTaskHandle = osThreadNew(StartUartTask, NULL, &UartTask_attributes);

  /* creation of ButtonTask */
  ButtonTaskHandle = osThreadNew(StartButtonTask, NULL, &ButtonTask_attributes);

  /* creation of systemEventFlags */
  systemEventFlagsHandle = osEventFlagsNew(&systemEventFlags_attributes);

  /* USER CODE BEGIN RTOS_EVENTS */
  /* add events, ... */
  if (SensorTaskHandle == NULL || DisplayTaskHandle == NULL ||
      AlarmTaskHandle == NULL || UartTaskHandle == NULL || ButtonTaskHandle == NULL ||
      sensorDisplayQueueHandle == NULL || sensorAlarmQueueHandle == NULL ||
      sensorUartQueueHandle == NULL || i2cMutexHandle == NULL || buttonSemHandle == NULL ||
      systemEventFlagsHandle == NULL)
  {
    static const char init_error[] = "APP_RTOS_INIT_FAILED\r\n";
    HAL_UART_Transmit(&huart2, (const uint8_t *)init_error, sizeof(init_error) - 1U, 100U);
    Error_Handler();
  }
  static const char tasks_ready[] = "APP_RTOS_READY tasks=5 queues=3\r\n";
  HAL_UART_Transmit(&huart2, (const uint8_t *)tasks_ready, sizeof(tasks_ready) - 1U, 100U);
  /* USER CODE END RTOS_EVENTS */

  /* Start scheduler */
  osKernelStart();

  /* We should never get here as control is now taken by the scheduler */

  /* Infinite loop */
  while (1)
  {

    /* USER CODE BEGIN 3 */

	  if (button_pressed == 1)
	  {
	      button_pressed = 0;

	      Alarm_Enable_Toggle();
	  }

	  if (AHT20_Read(&temperature, &humidity) == HAL_OK)
	  {

		  temperature_x10 = (int32_t)(temperature * 10.0f);
		  humidity_x10 = (uint32_t)(humidity * 10.0f);

		  Alarm_Update(
		      temperature_x10,
		      humidity_x10
		  );

		  Alarm_Buzzer_Update();
		  /* ---------- UART 输出 ---------- */

		  int aht_len = snprintf(
		      tx_buffer,
		      sizeof(tx_buffer),
		      "Temperature: %ld.%ld C, Humidity: %lu.%lu %%, State: %s\r\n",
		      (long)(temperature_x10 / 10),
		      (long)(temperature_x10 % 10),
		      (unsigned long)(humidity_x10 / 10),
		      (unsigned long)(humidity_x10 % 10),
		      (Alarm_GetState() == ALARM_ACTIVE) ? "ALARM" : "NORMAL"
		  );

		  HAL_UART_Transmit(
			  &huart2,
			  (uint8_t *)tx_buffer,
			  aht_len,
			  100
		  );

		  /* ---------- OLED 实时温度 ---------- */

		  snprintf(
			  oled_temp,
			  sizeof(oled_temp),
			  "%ld.%ld",
			  (long)(temperature_x10 / 10),
			  (long)(temperature_x10 % 10)
		  );

		  snprintf(
			  oled_humi,
			  sizeof(oled_humi),
			  "%lu.%lu",
			  (unsigned long)(humidity_x10 / 10),
			  (unsigned long)(humidity_x10 % 10)
		  );

		  if (Alarm_GetState() == ALARM_ACTIVE)
		  {
		      snprintf(
		          oled_state,
		          sizeof(oled_state),
		          "ALARM"
		      );
		  }
		  else
		  {
		      snprintf(
		          oled_state,
		          sizeof(oled_state),
		          "NORMAL"
		      );
		  }

		  if (oled_init_status == HAL_OK)
		  {
			  /* 第一行：温度 */
			  OLED_ClearPage(0);
			  OLED_ShowString(0, 0, oled_temp);

			  /* 第二行：湿度 */
			  OLED_ClearPage(1);
			  OLED_ShowString(0, 1, oled_humi);

			  OLED_ClearPage(2);
			  OLED_ShowString(0, 2, oled_state);

			  OLED_ClearPage(3);

			  if (Alarm_IsEnabled())
			  {
			      OLED_ShowString(0, 3, "ALARM ON");
			  }
			  else
			  {
			      OLED_ShowString(0, 3, "ALARM OFF");
			  }
		  }

	  }

	  HAL_Delay(1000);
  }
  /* USER CODE END 3 */
}

void SystemClock_Config(void)
{
  RCC_OscInitTypeDef RCC_OscInitStruct = {0};
  RCC_ClkInitTypeDef RCC_ClkInitStruct = {0};

  /** Configure the main internal regulator output voltage
  */
  __HAL_RCC_PWR_CLK_ENABLE();
  __HAL_PWR_VOLTAGESCALING_CONFIG(PWR_REGULATOR_VOLTAGE_SCALE2);

  /** Initializes the RCC Oscillators according to the specified parameters
  * in the RCC_OscInitTypeDef structure.
  */
  RCC_OscInitStruct.OscillatorType = RCC_OSCILLATORTYPE_HSI;
  RCC_OscInitStruct.HSIState = RCC_HSI_ON;
  RCC_OscInitStruct.HSICalibrationValue = RCC_HSICALIBRATION_DEFAULT;
  RCC_OscInitStruct.PLL.PLLState = RCC_PLL_ON;
  RCC_OscInitStruct.PLL.PLLSource = RCC_PLLSOURCE_HSI;
  RCC_OscInitStruct.PLL.PLLM = 16;
  RCC_OscInitStruct.PLL.PLLN = 336;
  RCC_OscInitStruct.PLL.PLLP = RCC_PLLP_DIV4;
  RCC_OscInitStruct.PLL.PLLQ = 7;
  if (HAL_RCC_OscConfig(&RCC_OscInitStruct) != HAL_OK)
  {
    Error_Handler();
  }

  /** Initializes the CPU, AHB and APB buses clocks
  */
  RCC_ClkInitStruct.ClockType = RCC_CLOCKTYPE_HCLK|RCC_CLOCKTYPE_SYSCLK
                              |RCC_CLOCKTYPE_PCLK1|RCC_CLOCKTYPE_PCLK2;
  RCC_ClkInitStruct.SYSCLKSource = RCC_SYSCLKSOURCE_PLLCLK;
  RCC_ClkInitStruct.AHBCLKDivider = RCC_SYSCLK_DIV1;
  RCC_ClkInitStruct.APB1CLKDivider = RCC_HCLK_DIV2;
  RCC_ClkInitStruct.APB2CLKDivider = RCC_HCLK_DIV1;

  if (HAL_RCC_ClockConfig(&RCC_ClkInitStruct, FLASH_LATENCY_2) != HAL_OK)
  {
    Error_Handler();
  }
}

static void MX_ADC1_Init(void)
{

  ADC_ChannelConfTypeDef sConfig = {0};

  /** Configure the global features of the ADC (Clock, Resolution, Data Alignment and number of conversion)
  */
  hadc1.Instance = ADC1;
  hadc1.Init.ClockPrescaler = ADC_CLOCK_SYNC_PCLK_DIV4;
  hadc1.Init.Resolution = ADC_RESOLUTION_12B;
  hadc1.Init.ScanConvMode = DISABLE;
  hadc1.Init.ContinuousConvMode = DISABLE;
  hadc1.Init.DiscontinuousConvMode = DISABLE;
  hadc1.Init.ExternalTrigConvEdge = ADC_EXTERNALTRIGCONVEDGE_NONE;
  hadc1.Init.ExternalTrigConv = ADC_SOFTWARE_START;
  hadc1.Init.DataAlign = ADC_DATAALIGN_RIGHT;
  hadc1.Init.NbrOfConversion = 1;
  hadc1.Init.DMAContinuousRequests = DISABLE;
  hadc1.Init.EOCSelection = ADC_EOC_SINGLE_CONV;
  if (HAL_ADC_Init(&hadc1) != HAL_OK)
  {
    Error_Handler();
  }

  /** Configure for the selected ADC regular channel its corresponding rank in the sequencer and its sample time.
  */
  sConfig.Channel = ADC_CHANNEL_0;
  sConfig.Rank = 1;
  sConfig.SamplingTime = ADC_SAMPLETIME_3CYCLES;
  if (HAL_ADC_ConfigChannel(&hadc1, &sConfig) != HAL_OK)
  {
    Error_Handler();
  }

}

static void MX_I2C1_Init(void)
{

  hi2c1.Instance = I2C1;
  hi2c1.Init.ClockSpeed = 100000;
  hi2c1.Init.DutyCycle = I2C_DUTYCYCLE_2;
  hi2c1.Init.OwnAddress1 = 0;
  hi2c1.Init.AddressingMode = I2C_ADDRESSINGMODE_7BIT;
  hi2c1.Init.DualAddressMode = I2C_DUALADDRESS_DISABLE;
  hi2c1.Init.OwnAddress2 = 0;
  hi2c1.Init.GeneralCallMode = I2C_GENERALCALL_DISABLE;
  hi2c1.Init.NoStretchMode = I2C_NOSTRETCH_DISABLE;
  if (HAL_I2C_Init(&hi2c1) != HAL_OK)
  {
    Error_Handler();
  }

}

static void MX_SPI1_Init(void)
{

  /* USER CODE BEGIN SPI1_Init 0 */
#if !APP_USE_FLASH_CONFIG && !FLASH_READ_DIAG_MODE
  return;
#endif

  /* USER CODE END SPI1_Init 0 */

  /* SPI1 parameter configuration*/
  hspi1.Instance = SPI1;
  hspi1.Init.Mode = SPI_MODE_MASTER;
  hspi1.Init.Direction = SPI_DIRECTION_2LINES;
  hspi1.Init.DataSize = SPI_DATASIZE_8BIT;
  hspi1.Init.CLKPolarity = SPI_POLARITY_LOW;
  hspi1.Init.CLKPhase = SPI_PHASE_1EDGE;
  hspi1.Init.NSS = SPI_NSS_SOFT;
  hspi1.Init.BaudRatePrescaler = SPI_BAUDRATEPRESCALER_64;
  hspi1.Init.FirstBit = SPI_FIRSTBIT_MSB;
  hspi1.Init.TIMode = SPI_TIMODE_DISABLE;
  hspi1.Init.CRCCalculation = SPI_CRCCALCULATION_DISABLE;
  hspi1.Init.CRCPolynomial = 10;
  if (HAL_SPI_Init(&hspi1) != HAL_OK)
  {
    Error_Handler();
  }

}

static void MX_TIM2_Init(void)
{

  TIM_ClockConfigTypeDef sClockSourceConfig = {0};
  TIM_MasterConfigTypeDef sMasterConfig = {0};

  htim2.Instance = TIM2;
  htim2.Init.Prescaler = 0;
  htim2.Init.CounterMode = TIM_COUNTERMODE_UP;
  htim2.Init.Period = 4294967295;
  htim2.Init.ClockDivision = TIM_CLOCKDIVISION_DIV1;
  htim2.Init.AutoReloadPreload = TIM_AUTORELOAD_PRELOAD_DISABLE;
  if (HAL_TIM_Base_Init(&htim2) != HAL_OK)
  {
    Error_Handler();
  }
  sClockSourceConfig.ClockSource = TIM_CLOCKSOURCE_INTERNAL;
  if (HAL_TIM_ConfigClockSource(&htim2, &sClockSourceConfig) != HAL_OK)
  {
    Error_Handler();
  }
  sMasterConfig.MasterOutputTrigger = TIM_TRGO_RESET;
  sMasterConfig.MasterSlaveMode = TIM_MASTERSLAVEMODE_DISABLE;
  if (HAL_TIMEx_MasterConfigSynchronization(&htim2, &sMasterConfig) != HAL_OK)
  {
    Error_Handler();
  }

}

static void MX_USART2_UART_Init(void)
{

  huart2.Instance = USART2;
  huart2.Init.BaudRate = 115200;
  huart2.Init.WordLength = UART_WORDLENGTH_8B;
  huart2.Init.StopBits = UART_STOPBITS_1;
  huart2.Init.Parity = UART_PARITY_NONE;
  huart2.Init.Mode = UART_MODE_TX_RX;
  huart2.Init.HwFlowCtl = UART_HWCONTROL_NONE;
  huart2.Init.OverSampling = UART_OVERSAMPLING_16;
  if (HAL_UART_Init(&huart2) != HAL_OK)
  {
    Error_Handler();
  }

}

static void MX_GPIO_Init(void)
{
  GPIO_InitTypeDef GPIO_InitStruct = {0};

  /* GPIO Ports Clock Enable */
  __HAL_RCC_GPIOC_CLK_ENABLE();
  __HAL_RCC_GPIOH_CLK_ENABLE();
  __HAL_RCC_GPIOA_CLK_ENABLE();
  __HAL_RCC_GPIOB_CLK_ENABLE();

  /*Configure GPIO pin Output Level */
  HAL_GPIO_WritePin(GPIOB, BUZZER_Pin|FLASH_CS_Pin, GPIO_PIN_SET);

  /*Configure GPIO pin : PC13 */
  GPIO_InitStruct.Pin = GPIO_PIN_13;
  GPIO_InitStruct.Mode = GPIO_MODE_IT_FALLING;
  GPIO_InitStruct.Pull = GPIO_NOPULL;
  HAL_GPIO_Init(GPIOC, &GPIO_InitStruct);

  /*Configure GPIO pins : BUZZER_Pin FLASH_CS_Pin */
  GPIO_InitStruct.Pin = BUZZER_Pin|FLASH_CS_Pin;
  GPIO_InitStruct.Mode = GPIO_MODE_OUTPUT_PP;
  GPIO_InitStruct.Pull = GPIO_NOPULL;
  GPIO_InitStruct.Speed = GPIO_SPEED_FREQ_LOW;
  HAL_GPIO_Init(GPIOB, &GPIO_InitStruct);

  /* EXTI interrupt init*/
  HAL_NVIC_SetPriority(EXTI15_10_IRQn, 5, 0);
  HAL_NVIC_EnableIRQ(EXTI15_10_IRQn);

}

/* USER CODE BEGIN 4 */

void HAL_GPIO_EXTI_Callback(uint16_t GPIO_Pin)
{
    static uint32_t last_button_tick = 0;

    if (GPIO_Pin == GPIO_PIN_13)
    {
        uint32_t now = HAL_GetTick();

        // 50ms 消抖
        if (now - last_button_tick >= 50U)
        {
            last_button_tick = now;

            // 释放二值信号量，通知 ButtonTask
            if (buttonSemHandle != NULL)
            {
                osSemaphoreRelease(buttonSemHandle);
            }
        }
    }
}

/* USER CODE END 4 */

void StartSensorTask(void *argument)
{
    (void)argument;

    float temperature = 0.0f;
    float humidity = 0.0f;

    SensorData_t sensorData;

    HAL_StatusTypeDef status;

    for (;;)
    {
#if QUEUE_STRESS_TEST
        QueueStress_Step();
#endif
        /* 获取 I2C 互斥锁 */
        if (osMutexAcquire(i2cMutexHandle, osWaitForever) == osOK)
        {
            /* 读取 AHT20 */
            status = AHT20_Read(&temperature, &humidity);

            /* 释放互斥锁 */
            osMutexRelease(i2cMutexHandle);

            if (status == HAL_OK)
            {
                /* 数据转换 */
                sensorData.temperature_x10 =
                    (int32_t)(temperature * 10.0f);

                sensorData.humidity_x10 =
                    (uint32_t)(humidity * 10.0f);

                /* 发送 OLED 消息 */
                osStatus_t displayPut = osMessageQueuePut(
                        sensorDisplayQueueHandle, &sensorData, 0, 0);
                if (displayPut != osOK)
                {
                    displayQueueDropCount++;
                }
#if QUEUE_STRESS_TEST
                QueueStress_RecordPut(QueueDisplay, sensorDisplayQueueHandle, displayPut);
#endif

                /* 发送报警消息 */
                osStatus_t alarmPut = osMessageQueuePut(
                        sensorAlarmQueueHandle, &sensorData, 0, 0);
                if (alarmPut != osOK)
                {
                    alarmQueueDropCount++;
                }
#if QUEUE_STRESS_TEST
                QueueStress_RecordPut(QueueAlarm, sensorAlarmQueueHandle, alarmPut);
#endif

                /* 发送 UART 消息 */
                osStatus_t uartPut = osMessageQueuePut(
                        sensorUartQueueHandle, &sensorData, 0, 0);
                if (uartPut != osOK)
                {
                    uartQueueDropCount++;
                }
#if QUEUE_STRESS_TEST
                QueueStress_RecordPut(QueueUart, sensorUartQueueHandle, uartPut);
#endif
            }
        }

        /* 每秒采集一次 */
        osDelay(1000);
    }
}

void StartDisplayTask(void *argument)
{
    (void)argument;

    SensorData_t receivedData;

    for (;;)
    {
        /* 等待传感器数据 */
        if (osMessageQueueGet(
                sensorDisplayQueueHandle,
                &receivedData,
                NULL,
                osWaitForever) != osOK)
        {
            continue;
        }

        /* 温度格式化 */
        snprintf(
            oled_temp,
            sizeof(oled_temp),
            "%ld.%ld",
            (long)(receivedData.temperature_x10 / 10),
            (long)(receivedData.temperature_x10 % 10)
        );

        /* 湿度格式化 */
        snprintf(
            oled_humi,
            sizeof(oled_humi),
            "%lu.%lu",
            (unsigned long)(receivedData.humidity_x10 / 10),
            (unsigned long)(receivedData.humidity_x10 % 10)
        );

        /* 获取报警状态 */
        if (Alarm_GetState() == ALARM_ACTIVE)
        {
            snprintf(oled_state, sizeof(oled_state), "ALARM");
        }
        else
        {
            snprintf(oled_state, sizeof(oled_state), "NORMAL");
        }

        /* OLED 初始化成功才执行显示 */
        if (oled_ready == 1U)
        {
            /* 获取 I2C 互斥锁 */
            if (osMutexAcquire(i2cMutexHandle, osWaitForever) == osOK)
            {
                /* 第一行：温度 */
                OLED_ClearPage(0);
                OLED_ShowString(0, 0, oled_temp);

                /* 第二行：湿度 */
                OLED_ClearPage(1);
                OLED_ShowString(0, 1, oled_humi);

                /* 第三行：报警状态 */
                OLED_ClearPage(2);
                OLED_ShowString(0, 2, oled_state);

                /* 第四行：报警使能状态 */
                OLED_ClearPage(3);

                if (Alarm_IsEnabled())
                {
                    OLED_ShowString(0, 3, "ALARM ON");
                }
                else
                {
                    OLED_ShowString(0, 3, "ALARM OFF");
                }

                /* 释放 I2C 互斥锁 */
                osMutexRelease(i2cMutexHandle);
            }
        }
#if QUEUE_STRESS_TEST
        QueueStress_Consumed(QueueDisplay);
#endif
    }
}

void StartAlarmTask(void *argument)
{
    (void)argument;

    SensorData_t receivedData;

    for (;;)
    {
        /* 等待传感器数据 */
        if (osMessageQueueGet(
                sensorAlarmQueueHandle,
                &receivedData,
                NULL,
                osWaitForever) != osOK)
        {
            continue;
        }

        /* 更新报警状态 */
        Alarm_Update(
            receivedData.temperature_x10,
            receivedData.humidity_x10
        );

        /* 更新蜂鸣器状态 */
        Alarm_Buzzer_Update();
#if QUEUE_STRESS_TEST
        QueueStress_Consumed(QueueAlarm);
#endif
    }
}

void StartUartTask(void *argument)
{
    (void)argument;

    SensorData_t receivedData;
    char uart_buffer[80];

    for (;;)
    {
        /* 等待传感器数据 */
        osStatus_t status = osMessageQueueGet(
            sensorUartQueueHandle,
            &receivedData,
            NULL,
            osWaitForever
        );

        if (status != osOK)
        {
            continue;
        }

        /* ================= 栈空间监测 ================= */

        sensorStackFree = osThreadGetStackSpace(SensorTaskHandle);

        displayStackFree = osThreadGetStackSpace(DisplayTaskHandle);

        alarmStackFree = osThreadGetStackSpace(AlarmTaskHandle);

        uartStackFree = osThreadGetStackSpace(UartTaskHandle);

        buttonStackFree = osThreadGetStackSpace(ButtonTaskHandle);

        /* ================================================= */

        /* 处理温度正负号 */
        int32_t temp_x10 = receivedData.temperature_x10;

        uint32_t temp_abs_x10 = (temp_x10 < 0)
            ? (uint32_t)(-(int64_t)temp_x10)
            : (uint32_t)temp_x10;

        /* 格式化串口输出 */
        int len = snprintf(
            uart_buffer,
            sizeof(uart_buffer),
            "Temperature: %s%lu.%lu C, Humidity: %lu.%lu %%, State: %s\r\n",

            (temp_x10 < 0) ? "-" : "",

            (unsigned long)(temp_abs_x10 / 10),
            (unsigned long)(temp_abs_x10 % 10),

            (unsigned long)(receivedData.humidity_x10 / 10),
            (unsigned long)(receivedData.humidity_x10 % 10),

            (Alarm_GetState() == ALARM_ACTIVE) ? "ALARM" : "NORMAL"
        );

        /* 发送串口数据 */
        if (len > 0)
        {
            if (len >= (int)sizeof(uart_buffer))
            {
                len = sizeof(uart_buffer) - 1;
            }

#if QUEUE_STRESS_TEST
            QueueStress_Uart(uart_buffer, (uint16_t)len);
#else
            HAL_UART_Transmit(
                &huart2,
                (uint8_t *)uart_buffer,
                (uint16_t)len,
                100
            );
#endif
        }
#if QUEUE_STRESS_TEST
        QueueStress_Consumed(QueueUart);
#endif
    }
}
void StartButtonTask(void *argument)
{
    (void)argument;

    for (;;)
    {
        // 等待按键事件
        osStatus_t status = osSemaphoreAcquire(
            buttonSemHandle,
            osWaitForever
        );

        if (status == osOK)
        {
            // 切换报警使能状态
            Alarm_Enable_Toggle();
        }
    }
}

void HAL_TIM_PeriodElapsedCallback(TIM_HandleTypeDef *htim)
{
  if (htim->Instance == TIM5)
  {
    HAL_IncTick();
  }
}

void Error_Handler(void)
{
  __disable_irq();
  while (1)
  {
  }
}
